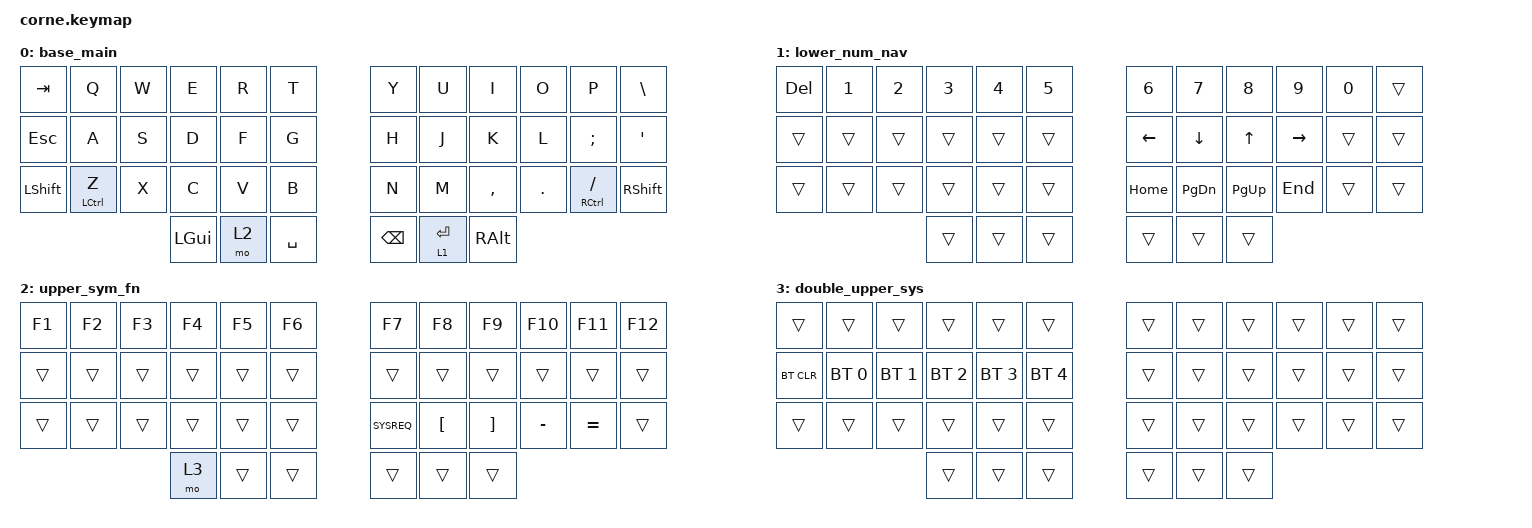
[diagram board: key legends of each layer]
/*
 * Copyright (c) 2020 The ZMK Contributors
 *
 * SPDX-License-Identifier: MIT
 */

#include <behaviors.dtsi>
#include <dt-bindings/zmk/bt.h>
#include <dt-bindings/zmk/keys.h>

/ {
    keymap {
        compatible = "zmk,keymap";

        base_main {
            // -----------------------------------------------------------------------------------------
            // |  TAB |  Q  |  W  |  E  |  R  |  T  |   |  Y  |  U   |  I  |  O  |  P  | BKSP |
            // | CTRL |  A  |  S  |  D  |  F  |  G  |   |  H  |  J   |  K  |  L  |  ;  |  '   |
            // | SHFT |  Z  |  X  |  C  |  V  |  B  |   |  N  |  M   |  ,  |  .  |  /  | ESC  |
            //                    | GUI | LWR | SPC |   | ENT | RSE  | ALT |

            bindings = <
&kp TAB     &kp Q        &kp W  &kp E     &kp R  &kp T        &kp Y          &kp U        &kp I      &kp O    &kp P            &kp BACKSLASH
&kp ESCAPE  &kp A        &kp S  &kp D     &kp F  &kp G        &kp H          &kp J        &kp K      &kp L    &kp SEMI         &kp SQT
&kp LSHFT   &mt LCTRL Z  &kp X  &kp C     &kp V  &kp B        &kp N          &kp M        &kp COMMA  &kp DOT  &mt RCTRL SLASH  &kp RIGHT_SHIFT
                                &kp LGUI  &mo 2  &kp SPACE    &kp BACKSPACE  &lt 1 ENTER  &kp RALT
            >;
        };

        lower_num_nav {
            // -----------------------------------------------------------------------------------------
            // |  TAB |  1  |  2  |  3  |  4  |  5  |   |  6  |  7  |  8  |  9  |  0  | BKSP |
            // | BTCLR| BT1 | BT2 | BT3 | BT4 | BT5 |   | LFT | DWN |  UP | RGT |     |      |
            // | SHFT |     |     |     |     |     |   |     |     |     |     |     |      |
            //                    | GUI |     | SPC |   | ENT |     | ALT |

            bindings = <
&kp DELETE  &kp N1  &kp N2  &kp N3  &kp N4  &kp N5    &kp N6    &kp N7         &kp N8       &kp N9     &kp N0  &trans
&trans      &trans  &trans  &trans  &trans  &trans    &kp LEFT  &kp DOWN       &kp UP       &kp RIGHT  &trans  &trans
&trans      &trans  &trans  &trans  &trans  &trans    &kp HOME  &kp PAGE_DOWN  &kp PAGE_UP  &kp END    &trans  &trans
                            &trans  &trans  &trans    &trans    &trans         &trans
            >;
        };

        upper_sym_fn {
            bindings = <
&kp F1  &kp F2  &kp F3  &kp F4  &kp F5  &kp F6    &kp F7      &kp F8            &kp F9             &kp F10    &kp F11    &kp F12
&trans  &trans  &trans  &trans  &trans  &trans    &trans      &trans            &trans             &trans     &trans     &trans
&trans  &trans  &trans  &trans  &trans  &trans    &kp SYSREQ  &kp LEFT_BRACKET  &kp RIGHT_BRACKET  &kp MINUS  &kp EQUAL  &trans
                        &mo 3   &trans  &trans    &trans      &trans            &trans
            >;
        };

        double_upper_sys {
            bindings = <
&trans      &trans        &trans        &trans        &trans        &trans          &trans  &trans  &trans  &trans  &trans  &trans
&bt BT_CLR  &bt BT_SEL 0  &bt BT_SEL 1  &bt BT_SEL 2  &bt BT_SEL 3  &bt BT_SEL 4    &trans  &trans  &trans  &trans  &trans  &trans
&trans      &trans        &trans        &trans        &trans        &trans          &trans  &trans  &trans  &trans  &trans  &trans
                                        &trans        &trans        &trans          &trans  &trans  &trans
            >;
        };
    };
};
